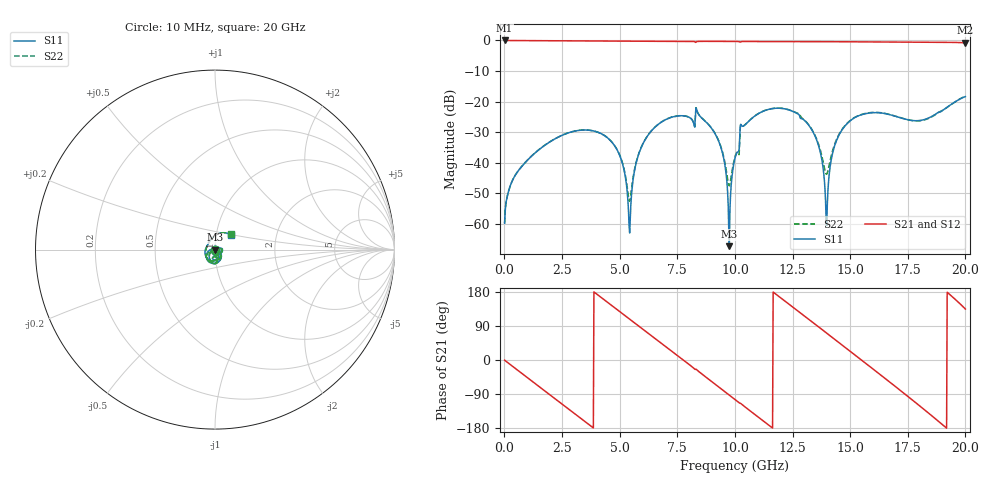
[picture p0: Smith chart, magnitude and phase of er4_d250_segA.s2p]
! Stitch-rule transferability - stripline, 2 mm stitch pitch, cut at x=20 mm
! Case: er4_d250_segA
! Sweep: 10 MHz - 20 GHz, 25 MHz step, 4 cores
# GHz S MA R 50.000000
! Terminal data exported
! Port[1] = U1.PAD1.SIG
! Port[2] = U2.PAD1.SIG
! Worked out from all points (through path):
!   801 points, 10 MHz to 20 GHz, reference 50 ohm
!   highest |S21| = -0.01 dB at 10 MHz (marker M1); lowest = -0.8 dB at 20 GHz (marker M2)
!   group delay of S21, straight-line fit = 130 ps
!   lowest |S11| = -67.2 dB at 9.76 GHz (marker M3), VSWR 1.00, Z = 50 + j0.00181 ohm
!   |S11| at or under -10 dB: start of sweep to end of sweep
!   |S22| runs from -59.7 to -18.2 dB; largest |S21 - S12| = 0
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0.01  0.00103 29.7  0.9991 -0.5  0.9991 -0.5  0.00103 29.7
0.46  0.006172 40.0  0.9951 -21.6  0.9951 -21.6  0.006195 39.5
1.76  0.01944 0.2  0.989 -81.9  0.989 -81.9  0.01951 -1.3
3.36  0.03427 -66.7  0.9829 -156.1  0.9829 -156.1  0.03429 -67.4
4.835  0.01771 -132.4  0.9786 135.6  0.9786 135.6  0.01781 -128.9
5.435  0.0007141 -55.0  0.9769 107.8  0.9769 107.8  0.002347 -67.5
5.835  0.01416 -2.9  0.9756 89.3  0.9756 89.3  0.01435 -10.3
6.685  0.04288 -40.6  0.9724 49.9  0.9724 49.9  0.04295 -42.7
8.41  0.06335 -117.2  0.9641 -29.3  0.9641 -29.3  0.06351 -115.4
9.36  0.01952 -163.6  0.9657 -73.9  0.9657 -73.9  0.01996 -152.6
9.76  0.0004347 2.4  0.9647 -92.6  0.9647 -92.6  0.00421 -86.9
10.01  0.01222 -12.0  0.9635 -104.3  0.9635 -104.3  0.01278 -32.0
10.335  0.03955 -27.0  0.9607 -118.8  0.9607 -118.8  0.03946 -31.5
11.685  0.07748 -92.4  0.9569 178.1  0.9569 178.1  0.07771 -92.0
13.36  0.03349 -171.2  0.955 100.1  0.955 100.1  0.03411 -159.9
13.985  0.0009471 32.4  0.9539 70.8  0.9539 70.8  0.00655 -103.4
14.26  0.01549 -30.0  0.9531 57.9  0.9531 57.9  0.01683 -53.8
14.71  0.03721 -53.2  0.9514 36.7  0.9514 36.7  0.03786 -60.8
16.685  0.06173 -151.1  0.9453 -56.7  0.9453 -56.7  0.06201 -141.9
17.66  0.04933 158.7  0.9425 -103.6  0.9425 -103.6  0.04927 174.4
18.685  0.06168 110.5  0.9374 -154.3  0.9374 -154.3  0.06081 117.4
20  0.121 43.0  0.9163 134.4  0.9163 134.4  0.1236 45.2
